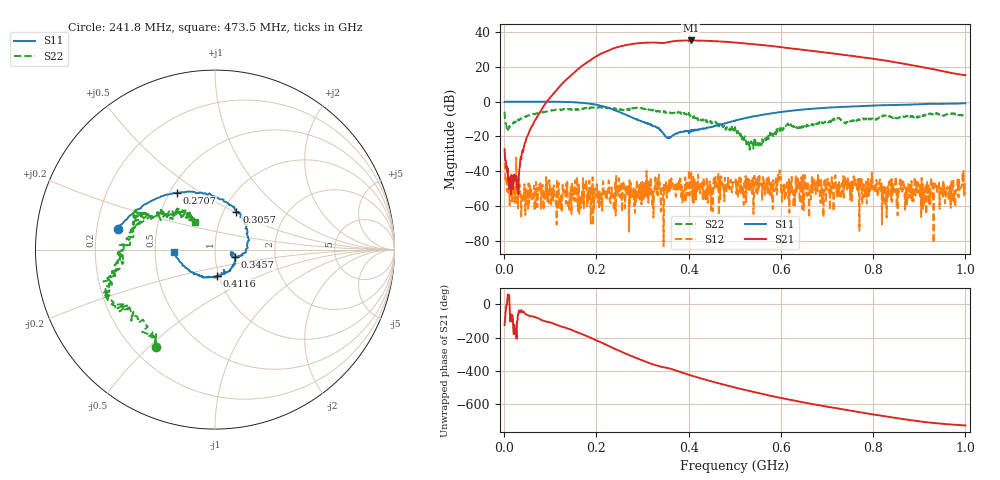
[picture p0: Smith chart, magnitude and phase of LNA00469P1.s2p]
! Created with skrf 1.9.0 (http://scikit-rf.org).
# Hz S RI R 50.0
!freq ReS11 ImS11 ReS21 ImS21 ReS12 ImS12 ReS22 ImS22
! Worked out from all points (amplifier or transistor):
!   1001 points, 1 MHz to 1 GHz, reference 50 ohm
!   highest |S21| = 35.1 dB at 404.6 MHz (marker M1)
!   |S21| within 3 dB of that: 258.1 MHz to 572.1 MHz (314 MHz wide, 75.6 % of centre)
!   unconditionally stable (mu >= 1): 215.1 MHz to 308.2 MHz; 309.2 MHz to 400.5 MHz; 400.8 MHz to end of sweep (the widest 3 of 33)
!   at 166.8 MHz: K = 2.40, MAG = 30.1 dB, |S12| = -53.3 dB
!   at 500.5 MHz: K = 1.93, MAG = 34.4 dB, |S12| = -45.9 dB
!   at 1 GHz: K = 6.22, MAG = 23.3 dB, |S12| = -53.3 dB
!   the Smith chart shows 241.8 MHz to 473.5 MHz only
!   S11 on the Smith chart (normalised r, x): 241.8 MHz: 0.29, +0.10; 270.7 MHz: 0.54, +0.40; 305.7 MHz: 1.15, +0.51; 345.7 MHz: 1.24, -0.11; 411.6 MHz: 0.98, -0.29; 473.5 MHz: 0.63, -0.02
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1000000  0.9735 -0.0031  -0.0242 -0.0358  -0.00698 0.0165  0.3809 0.3384
1.08892e8  0.5247 -0.8445  -0.8392 -1.606  -0.00187 -0.00269  0.4189 -0.383
1.67833e8  -0.2274 -0.896  -10.33 -0.4451  -0.00131 1.63e-05  0.0294 -0.639
2.08792e8  -0.6538 -0.4008  -15.78 17.12  -4.09e-06 0.00108  -0.2242 -0.6463
2.41759e8  -0.5411 0.1139  -0.2064 35.27  9.4e-05 -0.000527  -0.3302 -0.5451
2.7073e8  -0.2141 0.3174  24.97 35.49  7.46e-05 -0.000169  -0.5324 -0.3444
3.05695e8  0.1188 0.2108  46.76 13.68  0.00278 -0.00093  -0.5723 -0.1938
3.34666e8  0.1722 -0.00725  47.92 -9.51  -0.00154 0.00403  -0.5163 -0.0362
3.45655e8  0.1091 -0.0418  46.06 -14.75  -2.81e-05 -6.51e-05  -0.5276 0.0281
3.71629e8  0.1118 -0.0399  43.73 -33.47  -0.000809 0.00184  -0.4271 0.1669
4.04596e8  0.0373 -0.13  22.23 -52.48  0.0012 -0.00435  -0.3578 0.1721
4.11589e8  0.0108 -0.1466  16.89 -54.15  0.000611 0.00109  -0.3242 0.2064
4.41559e8  -0.119 -0.1295  -6.852 -55.23  0.000806 -0.000938  -0.1804 0.2199
4.73527e8  -0.2283 -0.0151  -27.25 -45.18  0.0051 -0.000112  -0.114 0.1562
5.005e8  -0.2539 0.1146  -38.26 -32.12  -0.00197 -0.00468  -0.1319 0.1309
5.4046e8  -0.2058 0.315  -43.34 -10.2  -0.000365 0.000473  -0.0446 0.000891
5.88412e8  -0.0212 0.4774  -36.68 10.82  0.00055 -0.00289  -0.1146 -0.069
6.67333e8  0.3413 0.5217  -14.6 24.39  0.00112 -0.00675  -0.2012 -0.064
7.53247e8  0.633 0.3524  3.747 20.18  0.000938 -0.00208  -0.27 -0.0049
8.34166e8  0.7796 0.1259  10.52 9.999  -0.00299 -0.00401  -0.3757 0.00691
9.09091e8  0.839 -0.1226  9.369 2.199  -0.00271 0.000106  -0.354 0.1656
1e9  0.8019 -0.3979  5.681 -0.7999  0.000668 0.00206  -0.2954 0.3191
